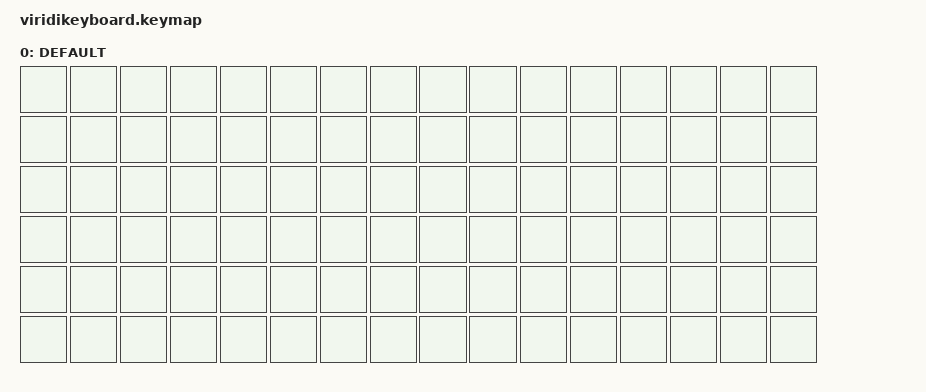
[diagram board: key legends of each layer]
/ {
    keymap {
        compatible = "zmk,keymap";

        default_layer {
            label = "DEFAULT";
            bindings = <
                /* Row 0 (строка 0) */
                &none &none &none &none &none &none &none &none &none &none &none &none &none &none &none &none
                /* Row 1 (строка 1) */
                &none &none &none &none &none &none &none &none &none &none &none &none &none &none &none &none
                /* Row 2 (строка 2) */
                &none &none &none &none &none &none &none &none &none &none &none &none &none &none &none &none
                /* Row 3 (строка 3) */
                &none &none &none &none &none &none &none &none &none &none &none &none &none &none &none &none
                /* Row 4 (строка 4) */
                &none &none &none &none &none &none &none &none &none &none &none &none &none &none &none &none
                /* Row 5 (строка 5) */
                &none &none &none &none &none &none &none &none &none &none &none &none &none &none &none &none
            >;

            /* Карта позиций для 16x6 матрицы */
            keymap = <
                /* Row 0 */
                0   1   2   3   4   5   6   7   8   9   10  11  12  13  14  15
                /* Row 1 */
                16  17  18  19  20  21  22  23  24  25  26  27  28  29  30  31
                /* Row 2 */
                32  33  34  35  36  37  38  39  40  41  42  43  44  45  46  47
                /* Row 3 */
                48  49  50  51  52  53  54  55  56  57  58  59  60  61  62  63
                /* Row 4 */
                64  65  66  67  68  69  70  71  72  73  74  75  76  77  78  79
                /* Row 5 */
                80  81  82  83  84  85  86  87  88  89  90  91  92  93  94  95
            >;
        };
    };
};
